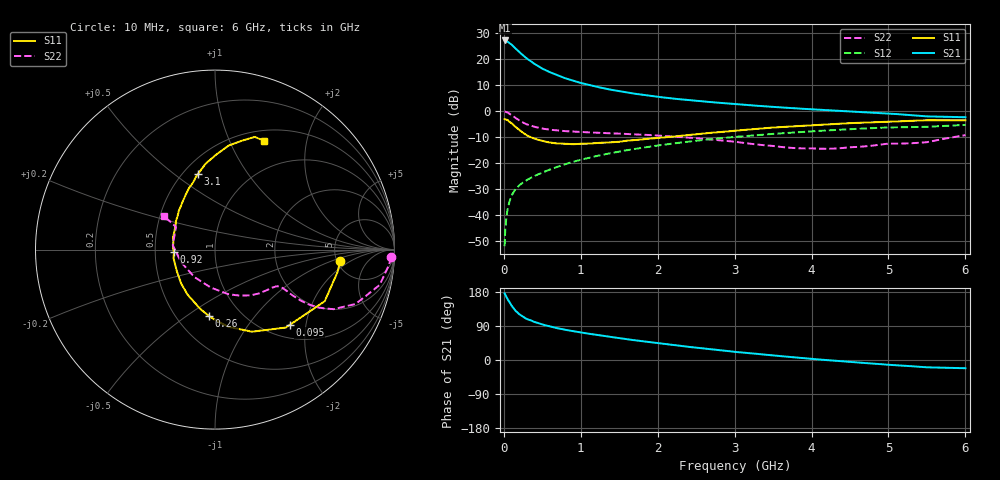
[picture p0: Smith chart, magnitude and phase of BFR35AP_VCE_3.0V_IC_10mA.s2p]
! Infineon Technologies  Discrete & RF Semiconductors
! BFR35AP
! VCE =  3.0 V,  IC =  10 mA
! Common Emitter S-Parameters:  Nov 2015
# GHz  S  MA  R  50
!  f  S11  S21  S12  S22
! GHz  MAG  ANG  MAG  ANG  MAG  ANG  MAG  ANG
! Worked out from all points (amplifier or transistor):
!   210 points, 10 MHz to 6 GHz, reference 50 ohm
!   highest |S21| = 27.2 dB at 10 MHz (marker M1)
!   |S21| within 3 dB of that: start of sweep to 149.6 MHz
!   unconditionally stable (mu >= 1): 559.5 MHz to 3.401 GHz
!   at 185 MHz: K = 0.56, MSG = 26.1 dB, |S12| = -29.1 dB
!   at 1.52 GHz: K = 1.11, MAG = 9.5 dB, |S12| = -15.5 dB
!   at 6 GHz: K = 0.96, MSG = 1.5 dB, |S12| = -5.3 dB
!   S11 on the Smith chart (normalised r, x): 10 MHz: 5.32, -1.38; 95 MHz: 1.26, -1.62; 260 MHz: 0.72, -0.62; 920 MHz: 0.63, -0.02; 3.1 GHz: 0.59, +0.61; 6 GHz: 0.63, +1.36
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0.01  0.7008 -5.4  22.91 175.7  0.0025 89.2  0.9826 -2.4
0.02  0.6938 -10.5  22.79 171.4  0.0055 82.5  0.9734 -5.0
0.05  0.6756 -25.2  21.79 160.0  0.0131 78.7  0.9386 -12.1
0.095  0.5909 -45.3  19.35 145.2  0.0224 71.1  0.8492 -20.1
0.1  0.5866 -47.8  19.17 143.4  0.0235 70.6  0.8404 -21.1
0.15  0.5015 -65.8  16.2 130.0  0.0311 64.1  0.7391 -26.7
0.2  0.4358 -80.4  13.78 120.9  0.037 62.4  0.6612 -29.3
0.24  0.3911 -90.1  12.19 115.2  0.0412 61.5  0.611 -30.2
0.26  0.3726 -94.9  11.49 112.5  0.0432 61.3  0.5894 -30.5
0.3  0.3406 -103.9  10.25 108.0  0.047 61.1  0.5531 -30.8
0.4  0.2942 -121.1  8.069 100.2  0.0562 62.2  0.4955 -30.5
0.5  0.267 -135.0  6.58 93.5  0.0652 63.0  0.4595 -29.9
0.6  0.2479 -147.4  5.593 88.3  0.0749 63.9  0.4373 -29.6
0.7  0.238 -158.4  4.858 83.7  0.0848 64.4  0.4228 -29.7
0.92  0.2304 -177.1  3.761 75.4  0.1073 64.1  0.4013 -30.7
1.02  0.2345 175.1  3.424 72.0  0.1171 63.8  0.3945 -31.6
1.4  0.2511 153.4  2.562 60.5  0.1551 61.9  0.3733 -36.3
2.02  0.3058 128.8  1.868 44.0  0.2189 56.2  0.3368 -47.4
3.1  0.4303 102.9  1.33 19.8  0.3265 43.4  0.2455 -77.9
4.1  0.5433 87.3  1.061 1.3  0.4154 30.4  0.1883 -133.7
5.1  0.6311 75.2  0.877 -13.8  0.486 16.5  0.2359 169.1
6  0.6641 65.5  0.761 -21.7  0.5416 6.3  0.3435 146.6
